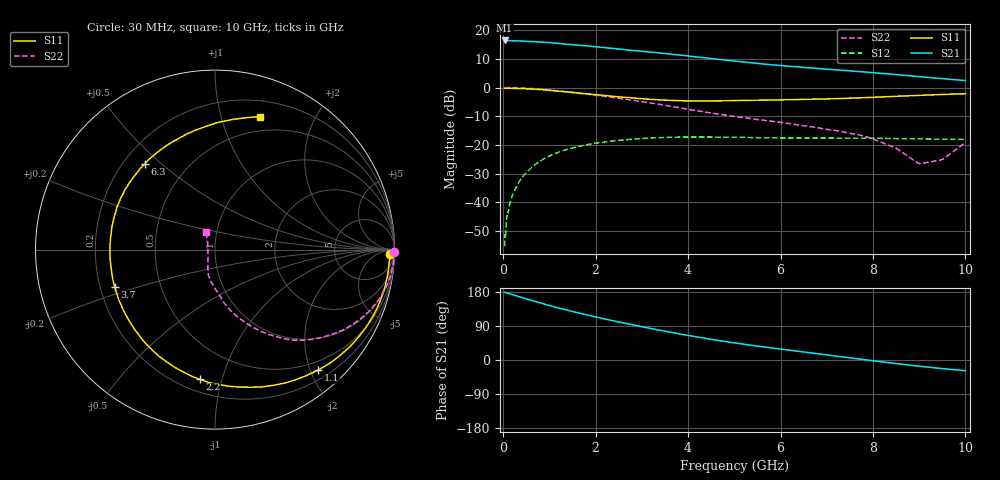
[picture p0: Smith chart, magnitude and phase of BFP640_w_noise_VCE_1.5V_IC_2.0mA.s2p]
! Infineon Technologies  Discrete & RF Semiconductors
! BFP640
! VCE =  1.5 V,  IC =  2.0 mA
! Common Emitter S-Parameters:  Apr 2013
# GHz  S  MA  R  50
!  f  S11  S21  S12  S22
! GHz  MAG  ANG  MAG  ANG  MAG  ANG  MAG  ANG
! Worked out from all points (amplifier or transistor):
!   99 points, 30 MHz to 10 GHz, reference 50 ohm
!   highest |S21| = 16.5 dB at 30 MHz (marker M1)
!   |S21| within 3 dB of that: start of sweep to 2.499 GHz
!   unconditionally stable (mu >= 1): 6.42 GHz to end of sweep
!   at 350 MHz: K = 0.02, MSG = 24.5 dB, |S12| = -32.8 dB
!   at 3.5 GHz: K = 0.55, MSG = 14.7 dB, |S12| = -17.4 dB
!   at 10 GHz: K = 1.27, MAG = 7.2 dB, |S12| = -18.1 dB
!   lowest NFmin = 0.53 dB at 450 MHz
!   S11 on the Smith chart (normalised r, x): 30 MHz: 41, -38; 1.1 GHz: 0.35, -2.13; 2.2 GHz: 0.28, -0.85; 3.7 GHz: 0.26, -0.17; 6.3 GHz: 0.29, +0.44; 10 GHz: 0.35, +1.34
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0.03  0.9738 -1.4  6.674 178.5  0.0017 79.4  0.9986 -0.7
0.04  0.9749 -1.8  6.465 178.2  0.0027 86.5  0.9997 -1.0
0.05  0.9758 -2.2  6.545 178.1  0.0024 84.7  0.9982 -1.4
0.08  0.9746 -3.5  6.579 176.8  0.0058 94.8  0.9989 -2.0
0.2  0.9718 -8.9  6.576 172.5  0.0132 85.4  0.9955 -5.0
0.3  0.968 -13.4  6.566 168.8  0.0194 82.9  0.9899 -7.5
0.7  0.9368 -31.4  6.344 154.2  0.0459 71.9  0.9524 -17.3
1.1  0.8841 -49.3  6.027 140.5  0.0696 60.5  0.8917 -26.2
1.5  0.8234 -66.6  5.631 128.0  0.0885 50.1  0.8235 -34.0
1.7  0.7933 -75.2  5.46 122.1  0.0965 45.6  0.788 -37.5
2.2  0.7279 -96.7  5.001 108.2  0.1125 34.6  0.7018 -46.0
2.8  0.6605 -121.9  4.471 92.9  0.1258 23.6  0.6011 -54.2
3.4  0.6104 -147.6  4.02 78.3  0.1341 14.0  0.5072 -61.9
3.7  0.5962 -159.8  3.792 71.5  0.1361 9.5  0.4607 -65.6
4.4  0.5855 173.7  3.301 56.5  0.1373 0.4  0.371 -73.7
5.1  0.5962 153.5  2.863 43.4  0.135 -6.4  0.3057 -79.8
6.3  0.6185 129.2  2.329 24.3  0.1321 -14.4  0.2289 -88.0
6.7  0.6284 121.9  2.197 18.1  0.1318 -16.9  0.2053 -91.9
8.5  0.7061 89.5  1.692 -9.5  0.129 -26.9  0.0875 -116.9
9  0.7335 81.9  1.558 -16.4  0.1275 -29.3  0.0466 -147.5
9.5  0.7601 75.6  1.435 -22.7  0.1255 -31.0  0.0552 137.2
10  0.7829 71.2  1.33 -28.2  0.1245 -32.1  0.1095 117.7
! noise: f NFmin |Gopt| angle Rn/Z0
0.45  0.53  0.6  13  0.24
0.9  0.57  0.61  23  0.23
1.5  0.69  0.53  39  0.22
1.9  0.75  0.48  53  0.21
2.4  0.82  0.45  63  0.2
3.5  0.97  0.38  91  0.18
5.5  1.34  0.35  -173  0.18
10  2.34  0.67  -68  0.71
